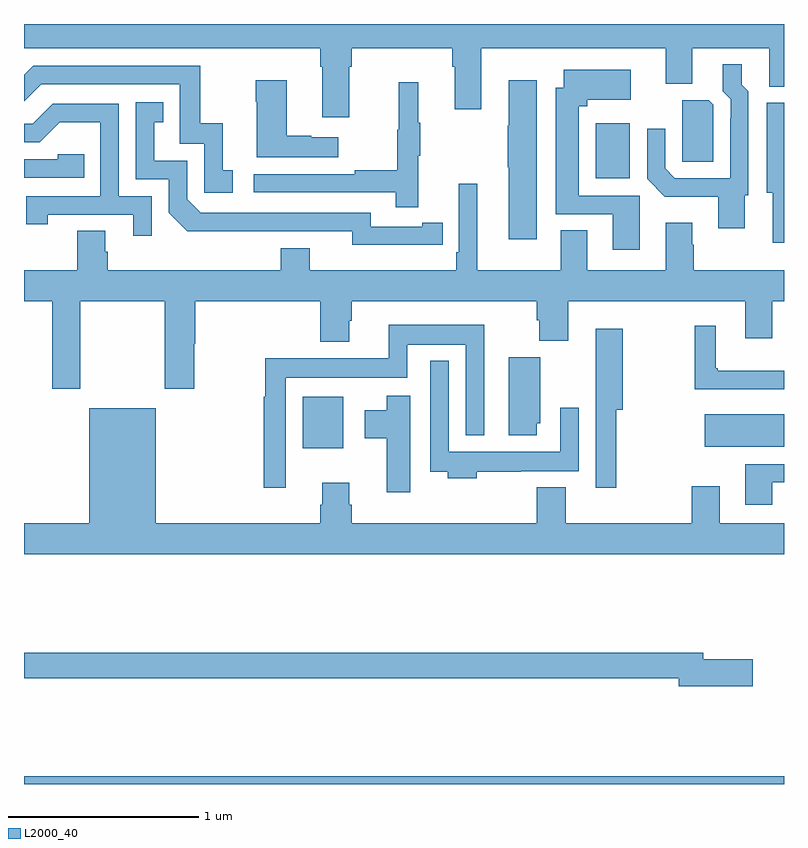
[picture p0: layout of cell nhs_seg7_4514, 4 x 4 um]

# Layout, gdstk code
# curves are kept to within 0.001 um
import gdstk
lib = gdstk.Library(unit=1e-6, precision=1e-09)
def R(c, l, rs):  # rectangles x0, y0, x1, y1
    for r in rs: c.add(gdstk.rectangle(r[:2], r[2:], *l))
def P(c, l, *ps):  # polygons
    for p in ps: c.add(gdstk.Polygon(p, *l))
L2000_40 = (2000, 40)

nhs_seg7_4514 = lib.new_cell('nhs_seg7_4514')
R(nhs_seg7_4514, L2000_40, [(393,1074,397,1074.04), (394.466,1075.766,394.681,1076.038), (396.584,1075.775,397,1075.945), (396.008,1077.188,396.187,1077.478)])
P(nhs_seg7_4514, L2000_40, [(393,1077.872),(394.559,1077.872),(394.559,1077.776),(394.571,1077.776),(394.571,1077.51),(394.711,1077.51),(394.711,1077.776),(394.724,1077.776),(394.724,1077.872),(395.255,1077.872),(395.255,1077.776),(395.267,1077.776),(395.267,1077.552),(395.407,1077.552),(395.407,1077.872),(396.377,1077.872),(396.377,1077.685),(396.517,1077.685),(396.517,1077.872),(396.923,1077.872),(396.923,1077.67),(397,1077.67),(397,1078),(393,1078)],
  [(396.793,1077.099),(396.813,1077.099),(396.813,1077.645),(396.778,1077.68),(396.778,1077.787),(396.677,1077.787),(396.677,1077.646),(396.72,1077.603),(396.72,1077.503),(396.717,1077.503),(396.717,1077.189),(396.426,1077.189),(396.375,1077.24),(396.375,1077.448),(396.279,1077.448),(396.279,1077.186),(396.373,1077.092),(396.653,1077.092),(396.653,1076.925),(396.793,1076.925)],
  [(394.099,1077.231),(394.046,1077.231),(394.046,1077.478),(393.928,1077.478),(393.928,1077.78),(393.048,1077.78),(393,1077.732),(393,1077.594),(393.09,1077.684),(393.819,1077.684),(393.819,1077.369),(393.948,1077.369),(393.948,1077.111),(394.099,1077.111)],
  [(396.241,1077.096),(395.92,1077.096),(395.92,1077.566),(395.965,1077.566),(395.965,1077.602),(396.193,1077.602),(396.193,1077.76),(395.84,1077.76),(395.84,1077.664),(395.798,1077.664),(395.798,1077),(396.098,1077),(396.098,1076.811),(396.241,1076.811)],
  [(395.698,1077.703),(395.552,1077.703),(395.552,1077.464),(395.545,1077.464),(395.545,1077.247),(395.552,1077.247),(395.552,1076.868),(395.698,1076.868)],
  [(394.654,1077.403),(394.511,1077.403),(394.511,1077.413),(394.384,1077.413),(394.384,1077.703),(394.219,1077.703),(394.219,1077.59),(394.226,1077.59),(394.226,1077.299),(394.654,1077.299)],
  [(395.075,1077.307),(395.086,1077.307),(395.086,1077.481),(395.075,1077.481),(395.075,1077.694),(394.972,1077.694),(394.972,1077.444),(394.965,1077.444),(394.965,1077.23),(394.741,1077.23),(394.741,1077.21),(394.209,1077.21),(394.209,1077.114),(394.957,1077.114),(394.957,1077.036),(395.075,1077.036)],
  [(396.627,1077.576),(396.603,1077.6),(396.464,1077.6),(396.464,1077.385),(396.465,1077.385),(396.465,1077.274),(396.627,1077.274)],
  [(395.096,1076.838),(395.204,1076.838),(395.204,1076.954),(395.096,1076.954),(395.096,1076.934),(394.824,1076.934),(394.824,1077.006),(393.93,1077.006),(393.858,1077.078),(393.858,1077.279),(393.685,1077.279),(393.685,1077.483),(393.734,1077.483),(393.734,1077.589),(393.588,1077.589),(393.588,1077.183),(393.762,1077.183),(393.762,1077.006),(393.86,1076.909),(394.728,1076.91),(394.728,1076.837)],
  [(397,1077.585),(396.908,1077.585),(396.908,1077.113),(396.941,1077.113),(396.941,1076.85),(397,1076.85)],
  [(393.672,1077.093),(393.498,1077.093),(393.498,1077.579),(393.152,1077.579),(393.047,1077.474),(393,1077.474),(393,1077.378),(393.084,1077.378),(393.188,1077.482),(393.402,1077.482),(393.402,1077.093),(393.013,1077.093),(393.013,1076.946),(393.124,1076.946),(393.124,1076.997),(393.575,1076.997),(393.575,1076.886),(393.672,1076.886)],
  [(393.317,1077.315),(393.177,1077.315),(393.177,1077.288),(393,1077.288),(393,1077.192),(393.317,1077.192)],
  [(393.297,1076.54),(393.742,1076.54),(393.742,1076.079),(393.897,1076.079),(393.897,1076.318),(393.902,1076.318),(393.902,1076.54),(394.559,1076.54),(394.559,1076.327),(394.711,1076.327),(394.711,1076.439),(394.724,1076.439),(394.724,1076.54),(395.699,1076.54),(395.699,1076.441),(395.711,1076.441),(395.711,1076.332),(395.864,1076.332),(395.864,1076.54),(396.797,1076.54),(396.797,1076.346),(396.937,1076.346),(396.937,1076.54),(397,1076.54),(397,1076.704),(396.525,1076.704),(396.525,1076.837),(396.517,1076.837),(396.517,1076.953),(396.377,1076.953),(396.377,1076.704),(395.965,1076.704),(395.965,1076.915),(395.825,1076.915),(395.825,1076.704),(395.386,1076.704),(395.386,1077.16),(395.289,1077.16),(395.289,1076.8),(395.276,1076.8),(395.276,1076.704),(394.504,1076.704),(394.504,1076.821),(394.352,1076.821),(394.352,1076.704),(393.44,1076.704),(393.44,1076.802),(393.427,1076.802),(393.427,1076.912),(393.28,1076.912),(393.28,1076.704),(393,1076.704),(393,1076.54),(393.149,1076.54),(393.149,1076.079),(393.297,1076.079)],
  [(394.377,1076.138),(395.016,1076.138),(395.016,1076.312),(395.325,1076.312),(395.325,1075.835),(395.422,1075.835),(395.422,1076.416),(394.919,1076.416),(394.919,1076.242),(394.269,1076.242),(394.269,1076.038),(394.261,1076.038),(394.261,1075.56),(394.377,1075.56)],
  [(397,1076.176),(396.652,1076.176),(396.652,1076.188),(396.64,1076.188),(396.64,1076.413),(396.531,1076.413),(396.531,1076.078),(397,1076.078)],
  [(396.118,1075.97),(396.15,1075.97),(396.15,1076.395),(396.008,1076.395),(396.008,1076.074),(396.009,1076.074),(396.009,1075.56),(396.118,1075.56)],
  [(395.698,1075.899),(395.716,1075.899),(395.716,1076.247),(395.552,1076.247),(395.552,1075.836),(395.698,1075.836)],
  [(395.384,1075.644),(395.615,1075.644),(395.615,1075.646),(395.919,1075.646),(395.919,1075.981),(395.823,1075.981),(395.823,1075.75),(395.235,1075.75),(395.235,1076.227),(395.139,1076.227),(395.139,1075.644),(395.231,1075.644),(395.231,1075.61),(395.384,1075.61)],
  [(395.032,1076.044),(394.91,1076.044),(394.91,1075.966),(394.793,1075.966),(394.793,1075.819),(394.91,1075.819),(394.91,1075.536),(395.032,1075.536)],
  [(397,1075.372),(396.661,1075.372),(396.661,1075.567),(396.514,1075.567),(396.514,1075.372),(395.851,1075.372),(395.851,1075.561),(395.699,1075.561),(395.699,1075.372),(394.724,1075.372),(394.724,1075.47),(394.711,1075.47),(394.711,1075.585),(394.571,1075.585),(394.571,1075.47),(394.559,1075.47),(394.559,1075.372),(393.694,1075.372),(393.694,1075.978),(393.344,1075.978),(393.344,1075.372),(393,1075.372),(393,1075.208),(397,1075.208)],
  [(396.937,1075.587),(397,1075.587),(397,1075.683),(396.797,1075.683),(396.797,1075.47),(396.937,1075.47)],
  [(396.835,1074.656),(396.574,1074.656),(396.574,1074.692),(393,1074.692),(393,1074.556),(396.446,1074.556),(396.446,1074.514),(396.835,1074.514)])

lib.write_gds('nhs_seg7_4514.gds')
